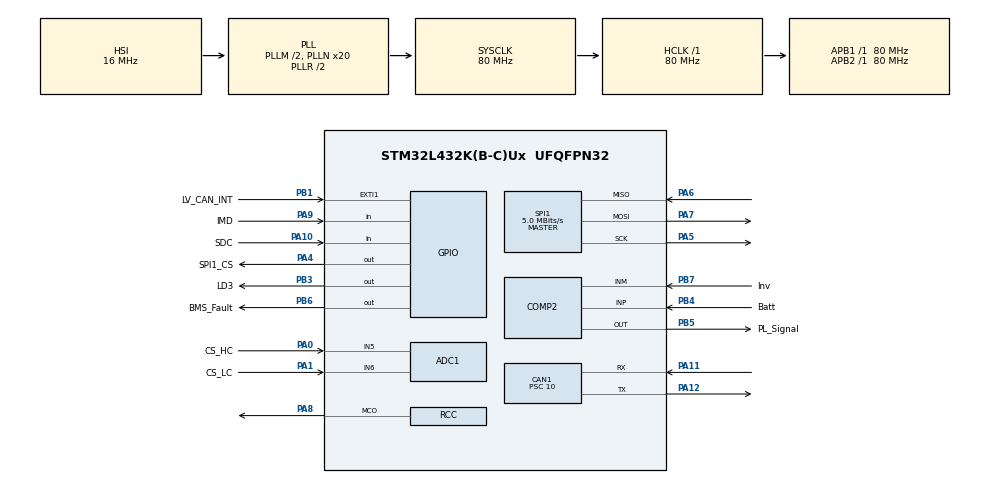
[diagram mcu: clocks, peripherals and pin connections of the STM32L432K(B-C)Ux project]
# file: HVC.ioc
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ADC1.Channel-0\#ChannelRegularConversion=ADC_CHANNEL_5
ADC1.NbrOfConversionFlag=1
ADC1.OffsetNumber-0\#ChannelRegularConversion=ADC_OFFSET_NONE
ADC1.Rank-0\#ChannelRegularConversion=1
ADC1.SamplingTime-0\#ChannelRegularConversion=ADC_SAMPLETIME_2CYCLES_5
ADC1.master=1
CAN1.BS1=CAN_BS1_13TQ
CAN1.BS2=CAN_BS2_2TQ
CAN1.CalculateBaudRate=500000
CAN1.CalculateTimeBit=2000
CAN1.CalculateTimeQuantum=125.0
CAN1.Prescaler=10
COMP2.Hysteresis=COMP_HYSTERESIS_HIGH
COMP2.TriggerMode=COMP_TRIGGERMODE_IT_RISING_FALLING
FREERTOS.Mutexes01=CAN,Dynamic,NULL,Available
FREERTOS.Tasks01=defaultTask,24,128,StartDefaultTask,Default,NULL,Dynamic,NULL,NULL;SPIIntCallback,24,128,SPICANIntCallbackTask,As external,NULL,Dynamic,NULL,NULL;CANManagerTask,24,128,CAN_ManagerTask,As external,NULL,Dynamic,NULL,NULL
Mcu.Family=STM32L4
Mcu.Name=STM32L432K(B-C)Ux
Mcu.Package=UFQFPN32
NVIC.COMP_IRQn=true\:5\:0\:false\:false\:true\:true\:false\:true\:true
NVIC.EXTI1_IRQn=true\:5\:0\:false\:false\:true\:true\:true\:true\:true
NVIC.PriorityGroup=NVIC_PRIORITYGROUP_4
NVIC.TIM6_DAC_IRQn=true\:15\:0\:false\:false\:true\:false\:false\:true\:true
NVIC.TimeBase=TIM6_DAC_IRQn
NVIC.TimeBaseIP=TIM6
PA0.GPIO_Label=CS_HC
PA0.Signal=ADCx_IN5
PA1.GPIO_Label=CS_LC
PA1.Signal=ADCx_IN6
PA10.GPIO_Label=SDC
PA10.Signal=GPIO_Input
PA11.Mode=CAN_Activate
PA11.Signal=CAN1_RX
PA12.Mode=CAN_Activate
PA12.Signal=CAN1_TX
PA4.GPIO_Label=SPI1_CS
PA4.Signal=GPIO_Output
PA5.Mode=Full_Duplex_Master
PA5.Signal=SPI1_SCK
PA6.Mode=Full_Duplex_Master
PA6.Signal=SPI1_MISO
PA7.Mode=Full_Duplex_Master
PA7.Signal=SPI1_MOSI
PA8.Mode=Clock-out
PA8.Signal=RCC_MCO
PA9.GPIO_Label=IMD
PA9.Signal=GPIO_Input
PB1.GPIO_Label=LV_CAN_INT
PB1.GPIO_ModeDefaultEXTI=GPIO_MODE_IT_RISING
PB1.GPIO_PuPd=GPIO_PULLUP
PB1.Signal=GPXTI1
PB3\ (JTDO-TRACESWO).GPIO_Label=LD3
PB3\ (JTDO-TRACESWO).Signal=GPIO_Output
PB4\ (NJTRST).GPIO_Label=Batt
PB4\ (NJTRST).Mode=INP
PB4\ (NJTRST).Signal=COMP2_INP
PB5.GPIO_Label=PL_Signal
PB5.Mode=ExternalOutput
PB5.Signal=COMP2_OUT
PB6.GPIO_Label=BMS_Fault
PB6.Signal=GPIO_Output
PB7.GPIO_Label=Inv
PB7.Mode=INM
PB7.Signal=COMP2_INM
ProjectManager.HeapSize=0x200
ProjectManager.StackSize=0x400
ProjectManager.TargetToolchain=Makefile
RCC.ADCFreq_Value=32000000
RCC.AHBFreq_Value=80000000
RCC.APB1Freq_Value=80000000
RCC.APB1TimFreq_Value=80000000
RCC.APB2Freq_Value=80000000
RCC.APB2TimFreq_Value=80000000
RCC.CortexFreq_Value=80000000
RCC.HCLKFreq_Value=80000000
RCC.HSE_VALUE=8000000
RCC.HSI48_VALUE=48000000
RCC.HSI_VALUE=16000000
RCC.I2C1CLockSelection=RCC_I2C1CLKSOURCE_HSI
RCC.I2C3CLockSelection=RCC_I2C3CLKSOURCE_HSI
RCC.MSI_VALUE=4000000
RCC.PLLM=2
RCC.PLLN=20
RCC.PLLSourceVirtual=RCC_PLLSOURCE_HSI
RCC.RCC_MCO1Source=RCC_MCO1SOURCE_HSI
RCC.RCC_MCODiv=RCC_MCODIV_2
RCC.SYSCLKFreq_VALUE=80000000
RCC.SYSCLKSource=RCC_SYSCLKSOURCE_PLLCLK
RCC.USBFreq_Value=32000000
RCC.VCOOutputFreq_Value=160000000
SH.ADCx_IN5.0=ADC1_IN5,IN5-Single-Ended
SH.ADCx_IN6.0=ADC1_IN6,IN6-Single-Ended
SPI1.BaudRatePrescaler=SPI_BAUDRATEPRESCALER_16
SPI1.CalculateBaudRate=5.0 MBits/s
SPI1.DataSize=SPI_DATASIZE_8BIT
SPI1.Direction=SPI_DIRECTION_2LINES
SPI1.Mode=SPI_MODE_MASTER
SPI1.VirtualType=VM_MASTER
VP_CRC_VS_CRC.Mode=CRC_Activate
VP_FREERTOS_VS_CMSIS_V2.Mode=CMSIS_V2
VP_SYS_VS_tim6.Mode=TIM6
board=custom

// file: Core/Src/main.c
/* USER CODE BEGIN Header */
/**
  ******************************************************************************
  * @file           : main.c
  * @brief          : Main program body
  ******************************************************************************
  * @attention
  *
  * Copyright (c) 2025 STMicroelectronics.
  * All rights reserved.
  *
  * This software is licensed under terms that can be found in the LICENSE file
  * in the root directory of this software component.
  * If no LICENSE file comes with this software, it is provided AS-IS.
  *
  ******************************************************************************
  */
/* USER CODE END Header */
#include "main.h"
#include "cmsis_os.h"

/* USER CODE BEGIN Includes */
#include "can_manager.h"
#include "mcp2515.h"
/* USER CODE END Includes */

ADC_HandleTypeDef hadc1;

CAN_HandleTypeDef hcan1;

COMP_HandleTypeDef hcomp2;

CRC_HandleTypeDef hcrc;

SPI_HandleTypeDef hspi1;

/* Definitions for defaultTask */
osThreadId_t defaultTaskHandle;
const osThreadAttr_t defaultTask_attributes = {
  .name = "defaultTask",
  .stack_size = 128 * 4,
  .priority = (osPriority_t) osPriorityNormal,
};
/* Definitions for SPIIntCallback */
osThreadId_t SPIIntCallbackHandle;
const osThreadAttr_t SPIIntCallback_attributes = {
  .name = "SPIIntCallback",
  .stack_size = 128 * 4,
  .priority = (osPriority_t) osPriorityNormal,
};
/* Definitions for CANManagerTask */
osThreadId_t CANManagerTaskHandle;
const osThreadAttr_t CANManagerTask_attributes = {
  .name = "CANManagerTask",
  .stack_size = 128 * 4,
  .priority = (osPriority_t) osPriorityNormal,
};
/* Definitions for CAN */
osMutexId_t CANHandle;
const osMutexAttr_t CAN_attributes = {
  .name = "CAN"
};

void SystemClock_Config(void);
static void MX_GPIO_Init(void);
static void MX_CAN1_Init(void);
static void MX_CRC_Init(void);
static void MX_COMP2_Init(void);
static void MX_ADC1_Init(void);
static void MX_SPI1_Init(void);
void StartDefaultTask(void *argument);
extern void SPICANIntCallbackTask(void *argument);
extern void CAN_ManagerTask(void *argument);

int main(void)
{

  /* MCU Configuration--------------------------------------------------------*/

  /* Reset of all peripherals, Initializes the Flash interface and the Systick. */
  HAL_Init();

  /* Configure the system clock */
  SystemClock_Config();

  /* Initialize all configured peripherals */
  MX_GPIO_Init();
  MX_CAN1_Init();
  MX_CRC_Init();
  MX_COMP2_Init();
  MX_ADC1_Init();
  MX_SPI1_Init();
  /* USER CODE BEGIN 2 */
  MCP_reset();
  MCP_clearInterrupts();
  MCP_setBitrateClock(CAN_500KBPS, MCP_8MHZ);
  MCP_setNormalMode();
  /* USER CODE END 2 */

  /* Init scheduler */
  osKernelInitialize();
  /* Create the mutex(es) */
  /* creation of CAN */
  CANHandle = osMutexNew(&CAN_attributes);

  /* Create the thread(s) */
  /* creation of defaultTask */
  defaultTaskHandle = osThreadNew(StartDefaultTask, NULL, &defaultTask_attributes);

  /* creation of SPIIntCallback */
  SPIIntCallbackHandle = osThreadNew(SPICANIntCallbackTask, NULL, &SPIIntCallback_attributes);

  /* creation of CANManagerTask */
  CANManagerTaskHandle = osThreadNew(CAN_ManagerTask, NULL, &CANManagerTask_attributes);

  /* Start scheduler */
  osKernelStart();

  /* We should never get here as control is now taken by the scheduler */

  /* Infinite loop */
  while (1)
  {

  }
}

void SystemClock_Config(void)
{
  RCC_OscInitTypeDef RCC_OscInitStruct = {0};
  RCC_ClkInitTypeDef RCC_ClkInitStruct = {0};

  /** Configure the main internal regulator output voltage
  */
  if (HAL_PWREx_ControlVoltageScaling(PWR_REGULATOR_VOLTAGE_SCALE1) != HAL_OK)
  {
    Error_Handler();
  }

  /** Initializes the RCC Oscillators according to the specified parameters
  * in the RCC_OscInitTypeDef structure.
  */
  RCC_OscInitStruct.OscillatorType = RCC_OSCILLATORTYPE_HSI;
  RCC_OscInitStruct.HSIState = RCC_HSI_ON;
  RCC_OscInitStruct.HSICalibrationValue = RCC_HSICALIBRATION_DEFAULT;
  RCC_OscInitStruct.PLL.PLLState = RCC_PLL_ON;
  RCC_OscInitStruct.PLL.PLLSource = RCC_PLLSOURCE_HSI;
  RCC_OscInitStruct.PLL.PLLM = 2;
  RCC_OscInitStruct.PLL.PLLN = 20;
  RCC_OscInitStruct.PLL.PLLP = RCC_PLLP_DIV7;
  RCC_OscInitStruct.PLL.PLLQ = RCC_PLLQ_DIV2;
  RCC_OscInitStruct.PLL.PLLR = RCC_PLLR_DIV2;
  if (HAL_RCC_OscConfig(&RCC_OscInitStruct) != HAL_OK)
  {
    Error_Handler();
  }

  /** Initializes the CPU, AHB and APB buses clocks
  */
  RCC_ClkInitStruct.ClockType = RCC_CLOCKTYPE_HCLK|RCC_CLOCKTYPE_SYSCLK
                              |RCC_CLOCKTYPE_PCLK1|RCC_CLOCKTYPE_PCLK2;
  RCC_ClkInitStruct.SYSCLKSource = RCC_SYSCLKSOURCE_PLLCLK;
  RCC_ClkInitStruct.AHBCLKDivider = RCC_SYSCLK_DIV1;
  RCC_ClkInitStruct.APB1CLKDivider = RCC_HCLK_DIV1;
  RCC_ClkInitStruct.APB2CLKDivider = RCC_HCLK_DIV1;

  if (HAL_RCC_ClockConfig(&RCC_ClkInitStruct, FLASH_LATENCY_4) != HAL_OK)
  {
    Error_Handler();
  }
  HAL_RCC_MCOConfig(RCC_MCO1, RCC_MCO1SOURCE_HSI, RCC_MCODIV_2);
}

static void MX_ADC1_Init(void)
{

  ADC_ChannelConfTypeDef sConfig = {0};

  /** Common config
  */
  hadc1.Instance = ADC1;
  hadc1.Init.ClockPrescaler = ADC_CLOCK_ASYNC_DIV1;
  hadc1.Init.Resolution = ADC_RESOLUTION_12B;
  hadc1.Init.DataAlign = ADC_DATAALIGN_RIGHT;
  hadc1.Init.ScanConvMode = ADC_SCAN_DISABLE;
  hadc1.Init.EOCSelection = ADC_EOC_SINGLE_CONV;
  hadc1.Init.LowPowerAutoWait = DISABLE;
  hadc1.Init.ContinuousConvMode = DISABLE;
  hadc1.Init.NbrOfConversion = 1;
  hadc1.Init.DiscontinuousConvMode = DISABLE;
  hadc1.Init.ExternalTrigConv = ADC_SOFTWARE_START;
  hadc1.Init.ExternalTrigConvEdge = ADC_EXTERNALTRIGCONVEDGE_NONE;
  hadc1.Init.DMAContinuousRequests = DISABLE;
  hadc1.Init.Overrun = ADC_OVR_DATA_PRESERVED;
  hadc1.Init.OversamplingMode = DISABLE;
  if (HAL_ADC_Init(&hadc1) != HAL_OK)
  {
    Error_Handler();
  }

  /** Configure Regular Channel
  */
  sConfig.Channel = ADC_CHANNEL_5;
  sConfig.Rank = ADC_REGULAR_RANK_1;
  sConfig.SamplingTime = ADC_SAMPLETIME_2CYCLES_5;
  sConfig.SingleDiff = ADC_SINGLE_ENDED;
  sConfig.OffsetNumber = ADC_OFFSET_NONE;
  sConfig.Offset = 0;
  if (HAL_ADC_ConfigChannel(&hadc1, &sConfig) != HAL_OK)
  {
    Error_Handler();
  }

}

static void MX_CAN1_Init(void)
{

  hcan1.Instance = CAN1;
  hcan1.Init.Prescaler = 10;
  hcan1.Init.Mode = CAN_MODE_NORMAL;
  hcan1.Init.SyncJumpWidth = CAN_SJW_1TQ;
  hcan1.Init.TimeSeg1 = CAN_BS1_13TQ;
  hcan1.Init.TimeSeg2 = CAN_BS2_2TQ;
  hcan1.Init.TimeTriggeredMode = DISABLE;
  hcan1.Init.AutoBusOff = DISABLE;
  hcan1.Init.AutoWakeUp = DISABLE;
  hcan1.Init.AutoRetransmission = DISABLE;
  hcan1.Init.ReceiveFifoLocked = DISABLE;
  hcan1.Init.TransmitFifoPriority = DISABLE;
  if (HAL_CAN_Init(&hcan1) != HAL_OK)
  {
    Error_Handler();
  }
  /* USER CODE BEGIN CAN1_Init 2 */

  CAN_Manager_Init();
  /* USER CODE END CAN1_Init 2 */

}

static void MX_COMP2_Init(void)
{

  hcomp2.Instance = COMP2;
  hcomp2.Init.InvertingInput = COMP_INPUT_MINUS_IO2;
  hcomp2.Init.NonInvertingInput = COMP_INPUT_PLUS_IO1;
  hcomp2.Init.OutputPol = COMP_OUTPUTPOL_NONINVERTED;
  hcomp2.Init.Hysteresis = COMP_HYSTERESIS_HIGH;
  hcomp2.Init.BlankingSrce = COMP_BLANKINGSRC_NONE;
  hcomp2.Init.Mode = COMP_POWERMODE_HIGHSPEED;
  hcomp2.Init.WindowMode = COMP_WINDOWMODE_DISABLE;
  hcomp2.Init.TriggerMode = COMP_TRIGGERMODE_IT_RISING_FALLING;
  if (HAL_COMP_Init(&hcomp2) != HAL_OK)
  {
    Error_Handler();
  }
  /* USER CODE BEGIN COMP2_Init 2 */
  HAL_COMP_Start(&hcomp2);
  /* USER CODE END COMP2_Init 2 */

}

static void MX_CRC_Init(void)
{

  hcrc.Instance = CRC;
  hcrc.Init.DefaultPolynomialUse = DEFAULT_POLYNOMIAL_ENABLE;
  hcrc.Init.DefaultInitValueUse = DEFAULT_INIT_VALUE_ENABLE;
  hcrc.Init.InputDataInversionMode = CRC_INPUTDATA_INVERSION_NONE;
  hcrc.Init.OutputDataInversionMode = CRC_OUTPUTDATA_INVERSION_DISABLE;
  hcrc.InputDataFormat = CRC_INPUTDATA_FORMAT_BYTES;
  if (HAL_CRC_Init(&hcrc) != HAL_OK)
  {
    Error_Handler();
  }

}

static void MX_SPI1_Init(void)
{

  /* SPI1 parameter configuration*/
  hspi1.Instance = SPI1;
  hspi1.Init.Mode = SPI_MODE_MASTER;
  hspi1.Init.Direction = SPI_DIRECTION_2LINES;
  hspi1.Init.DataSize = SPI_DATASIZE_8BIT;
  hspi1.Init.CLKPolarity = SPI_POLARITY_LOW;
  hspi1.Init.CLKPhase = SPI_PHASE_1EDGE;
  hspi1.Init.NSS = SPI_NSS_SOFT;
  hspi1.Init.BaudRatePrescaler = SPI_BAUDRATEPRESCALER_16;
  hspi1.Init.FirstBit = SPI_FIRSTBIT_MSB;
  hspi1.Init.TIMode = SPI_TIMODE_DISABLE;
  hspi1.Init.CRCCalculation = SPI_CRCCALCULATION_DISABLE;
  hspi1.Init.CRCPolynomial = 7;
  hspi1.Init.CRCLength = SPI_CRC_LENGTH_DATASIZE;
  hspi1.Init.NSSPMode = SPI_NSS_PULSE_ENABLE;
  if (HAL_SPI_Init(&hspi1) != HAL_OK)
  {
    Error_Handler();
  }

}

static void MX_GPIO_Init(void)
{
  GPIO_InitTypeDef GPIO_InitStruct = {0};

  /* GPIO Ports Clock Enable */
  __HAL_RCC_GPIOA_CLK_ENABLE();
  __HAL_RCC_GPIOB_CLK_ENABLE();

  /*Configure GPIO pin Output Level */
  HAL_GPIO_WritePin(SPI1_CS_GPIO_Port, SPI1_CS_Pin, GPIO_PIN_RESET);

  /*Configure GPIO pin Output Level */
  HAL_GPIO_WritePin(GPIOB, LD3_Pin|BMS_Fault_Pin, GPIO_PIN_RESET);

  /*Configure GPIO pin : SPI1_CS_Pin */
  GPIO_InitStruct.Pin = SPI1_CS_Pin;
  GPIO_InitStruct.Mode = GPIO_MODE_OUTPUT_PP;
  GPIO_InitStruct.Pull = GPIO_NOPULL;
  GPIO_InitStruct.Speed = GPIO_SPEED_FREQ_LOW;
  HAL_GPIO_Init(SPI1_CS_GPIO_Port, &GPIO_InitStruct);

  /*Configure GPIO pin : LV_CAN_INT_Pin */
  GPIO_InitStruct.Pin = LV_CAN_INT_Pin;
  GPIO_InitStruct.Mode = GPIO_MODE_IT_RISING;
  GPIO_InitStruct.Pull = GPIO_PULLUP;
  HAL_GPIO_Init(LV_CAN_INT_GPIO_Port, &GPIO_InitStruct);

  /*Configure GPIO pin : PA8 */
  GPIO_InitStruct.Pin = GPIO_PIN_8;
  GPIO_InitStruct.Mode = GPIO_MODE_AF_PP;
  GPIO_InitStruct.Pull = GPIO_NOPULL;
  GPIO_InitStruct.Speed = GPIO_SPEED_FREQ_LOW;
  GPIO_InitStruct.Alternate = GPIO_AF0_MCO;
  HAL_GPIO_Init(GPIOA, &GPIO_InitStruct);

  /*Configure GPIO pins : IMD_Pin SDC_Pin */
  GPIO_InitStruct.Pin = IMD_Pin|SDC_Pin;
  GPIO_InitStruct.Mode = GPIO_MODE_INPUT;
  GPIO_InitStruct.Pull = GPIO_NOPULL;
  HAL_GPIO_Init(GPIOA, &GPIO_InitStruct);

  /*Configure GPIO pins : LD3_Pin BMS_Fault_Pin */
  GPIO_InitStruct.Pin = LD3_Pin|BMS_Fault_Pin;
  GPIO_InitStruct.Mode = GPIO_MODE_OUTPUT_PP;
  GPIO_InitStruct.Pull = GPIO_NOPULL;
  GPIO_InitStruct.Speed = GPIO_SPEED_FREQ_LOW;
  HAL_GPIO_Init(GPIOB, &GPIO_InitStruct);

  /* EXTI interrupt init*/
  HAL_NVIC_SetPriority(EXTI1_IRQn, 5, 0);
  HAL_NVIC_EnableIRQ(EXTI1_IRQn);

}

/* USER CODE BEGIN 4 */
/**
  * @brief  Interrupt callback for SPI CAN Int pin
  * @param  GPIO_PIN: specifies GPIO pin connected to EXTI line
  * @retval None
  */
/* USER CODE END Header_StartDefaultTask */
void HAL_GPIO_EXTI_Callback(uint16_t GPIO_PIN)
{

    if (GPIO_PIN == LV_CAN_INT_Pin) {
        // Handle CAN interrupt
        // Set flag so we don't do SPI transactions in ISR
        osThreadFlagsSet(SPIIntCallbackHandle, 0x0001);
    }
}

/* USER CODE END 4 */

void StartDefaultTask(void *argument)
{
  /* USER CODE BEGIN 5 */

  /* Infinite loop */
  for(;;)
  {
    // HAL_GPIO_WritePin(LD3_GPIO_Port, LD3_Pin, GPIO_PIN_SET);
    HAL_GPIO_WritePin(BMS_Fault_GPIO_Port, BMS_Fault_Pin, GPIO_PIN_SET);
    osDelay(1000);
    // HAL_GPIO_WritePin(LD3_GPIO_Port, LD3_Pin, GPIO_PIN_RESET);
    HAL_GPIO_WritePin(BMS_Fault_GPIO_Port, BMS_Fault_Pin, GPIO_PIN_RESET);
    osDelay(1000);
  }
  /* USER CODE END 5 */
}

void HAL_TIM_PeriodElapsedCallback(TIM_HandleTypeDef *htim)
{
  if (htim->Instance == TIM6)
  {
    HAL_IncTick();
  }
}

void Error_Handler(void)
{
  __disable_irq();
  while (1)
  {
  }
}
